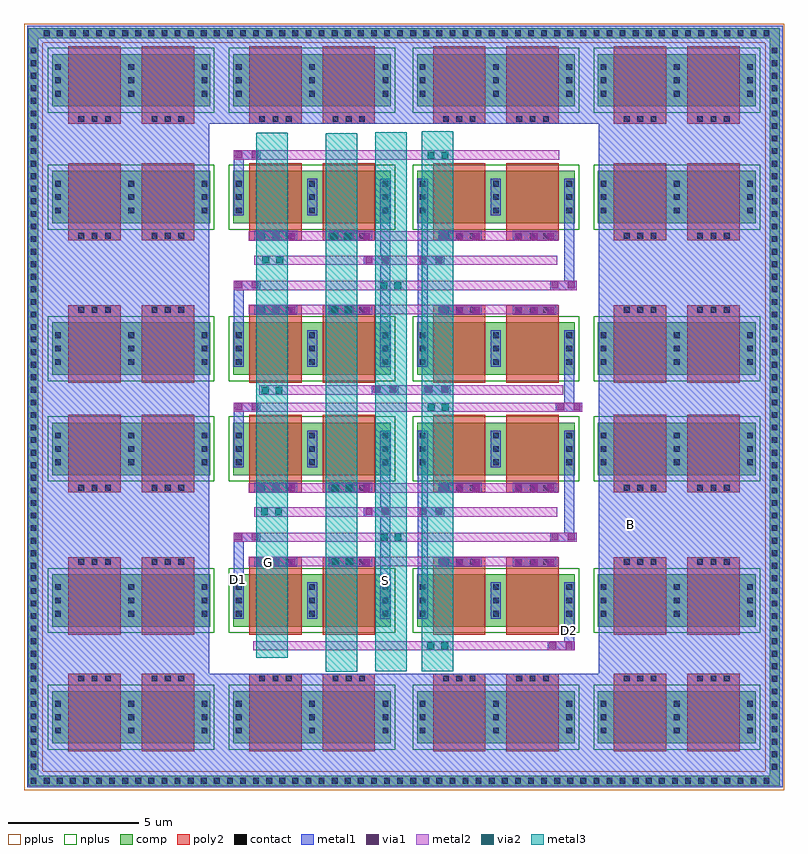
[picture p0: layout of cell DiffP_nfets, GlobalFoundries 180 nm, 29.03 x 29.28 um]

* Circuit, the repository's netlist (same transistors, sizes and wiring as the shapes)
** sch_path: /home/gmaranhao/Desktop/Bracolin/TIA_Filter/PseudoResistor/DiffP_nfets.sch
.subckt DiffP_nfets D1 D2 G S B
*.PININFO D1:B D2:B G:B S:B B:B
M1 D1 G net4 B nfet_03v3 L=2u W=2u nf=1 m=1
M2 D2 G net5 B nfet_03v3 L=2u W=2u nf=1 m=1
M5 D1 G net3 B nfet_03v3 L=2u W=2u nf=1 m=1
M6 D1 G net2 B nfet_03v3 L=2u W=2u nf=1 m=1
M7 D1 G net1 B nfet_03v3 L=2u W=2u nf=1 m=1
M8 net4 G S B nfet_03v3 L=2u W=2u nf=1 m=1
M9 net3 G S B nfet_03v3 L=2u W=2u nf=1 m=1
M10 net2 G S B nfet_03v3 L=2u W=2u nf=1 m=1
M11 net1 G S B nfet_03v3 L=2u W=2u nf=1 m=1
M12 D2 G net6 B nfet_03v3 L=2u W=2u nf=1 m=1
M13 D2 G net7 B nfet_03v3 L=2u W=2u nf=1 m=1
M14 D2 G net8 B nfet_03v3 L=2u W=2u nf=1 m=1
M15 net5 G S B nfet_03v3 L=2u W=2u nf=1 m=1
M16 net6 G S B nfet_03v3 L=2u W=2u nf=1 m=1
M17 net7 G S B nfet_03v3 L=2u W=2u nf=1 m=1
M18 net8 G S B nfet_03v3 L=2u W=2u nf=1 m=1
M3[1] B B B B nfet_03v3 L=2u W=2u nf=1 m=1
M3[2] B B B B nfet_03v3 L=2u W=2u nf=1 m=1
M3[3] B B B B nfet_03v3 L=2u W=2u nf=1 m=1
M3[4] B B B B nfet_03v3 L=2u W=2u nf=1 m=1
M3[5] B B B B nfet_03v3 L=2u W=2u nf=1 m=1
M3[6] B B B B nfet_03v3 L=2u W=2u nf=1 m=1
M3[7] B B B B nfet_03v3 L=2u W=2u nf=1 m=1
M3[8] B B B B nfet_03v3 L=2u W=2u nf=1 m=1
M3[9] B B B B nfet_03v3 L=2u W=2u nf=1 m=1
M3[10] B B B B nfet_03v3 L=2u W=2u nf=1 m=1
M3[11] B B B B nfet_03v3 L=2u W=2u nf=1 m=1
M3[12] B B B B nfet_03v3 L=2u W=2u nf=1 m=1
M3[13] B B B B nfet_03v3 L=2u W=2u nf=1 m=1
M3[14] B B B B nfet_03v3 L=2u W=2u nf=1 m=1
M3[15] B B B B nfet_03v3 L=2u W=2u nf=1 m=1
M3[16] B B B B nfet_03v3 L=2u W=2u nf=1 m=1
M3[17] B B B B nfet_03v3 L=2u W=2u nf=1 m=1
M3[18] B B B B nfet_03v3 L=2u W=2u nf=1 m=1
M3[19] B B B B nfet_03v3 L=2u W=2u nf=1 m=1
M3[20] B B B B nfet_03v3 L=2u W=2u nf=1 m=1
M3[21] B B B B nfet_03v3 L=2u W=2u nf=1 m=1
M3[22] B B B B nfet_03v3 L=2u W=2u nf=1 m=1
M3[23] B B B B nfet_03v3 L=2u W=2u nf=1 m=1
M3[24] B B B B nfet_03v3 L=2u W=2u nf=1 m=1
M3[25] B B B B nfet_03v3 L=2u W=2u nf=1 m=1
M3[26] B B B B nfet_03v3 L=2u W=2u nf=1 m=1
M3[27] B B B B nfet_03v3 L=2u W=2u nf=1 m=1
M3[28] B B B B nfet_03v3 L=2u W=2u nf=1 m=1
M3[29] B B B B nfet_03v3 L=2u W=2u nf=1 m=1
M3[30] B B B B nfet_03v3 L=2u W=2u nf=1 m=1
M3[31] B B B B nfet_03v3 L=2u W=2u nf=1 m=1
M3[32] B B B B nfet_03v3 L=2u W=2u nf=1 m=1
.ends
.end

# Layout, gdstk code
import gdstk
lib = gdstk.Library(unit=1e-6, precision=1e-09)
def R(c, l, rs):  # rectangles x0, y0, x1, y1
    for r in rs: c.add(gdstk.rectangle(r[:2], r[2:], *l))
def A(c, l, x, y, w, h, nx, ny, dx, dy):  # array of equal rectangles
    R(c, l, [(x+i*dx, y+j*dy, x+i*dx+w, y+j*dy+h) for i in range(nx) for j in range(ny)])
comp = (22, 0)
poly2 = (30, 0)
pplus = (31, 0)
nplus = (32, 0)
contact = (33, 0)
metal1 = (34, 0)
via1 = (35, 0)
metal2 = (36, 0)
via2 = (38, 0)
metal3 = (42, 0)

nfet = lib.new_cell('nfet')
R(nfet, comp, [(-0.42,0,0,2), (0,0,2.38,2), (2.38,0,2.8,2)])
R(nfet, poly2, [(0.19,-0.3,2.19,2.3), (0.19,2.3,2.19,2.66)])
R(nfet, nplus, [(-0.59,-0.24,2.97,2.24)])
A(nfet, contact, -0.32, 0.38, 0.22, 0.22, 1, 3, 0, 0.51)
A(nfet, contact, 2.48, 0.38, 0.22, 0.22, 1, 3, 0, 0.51)
A(nfet, contact, 0.57, 2.37, 0.22, 0.22, 3, 1, 0.51, 0)
R(nfet, metal1, [(-0.4,0.3,-0.02,1.7), (2.4,0.3,2.78,1.7), (0.49,2.29,1.89,2.67)])

diffp_nfets = lib.new_cell('DiffP_nfets')
R(diffp_nfets, comp, [(-8.485,-3.245,20.205,-2.865), (-8.485,-2.865,-8.105,25.695), (19.825,-2.865,20.205,25.695), (-8.485,25.315,20.205,25.695)])
R(diffp_nfets, pplus, [(-8.655,-3.415,20.375,-2.695), (-8.655,-3.04,-7.935,25.865), (19.655,-3.04,20.375,25.865), (-8.655,25.145,20.375,25.865)])
A(diffp_nfets, contact, -8.4, -3.165, 0.22, 0.22, 57, 1, 0.5, 0)
A(diffp_nfets, contact, -8.405, -2.63, 0.22, 0.22, 1, 58, 0, 0.48)
A(diffp_nfets, contact, 19.905, -2.63, 0.22, 0.22, 1, 58, 0, 0.48)
A(diffp_nfets, contact, -7.9, 25.395, 0.22, 0.22, 56, 1, 0.5, 0)
R(diffp_nfets, contact, [(-8.405,24.73,-8.185,24.95)])
R(diffp_nfets, metal1, [(-8.525,-3.3,-1.57,25.785), (-1.965,-3.3,20.335,1.045), (13.29,-1.325,20.335,24.405), (11.35,1.93,12.36,2.285), (11.35,1.93,12.36,2.285), (11.35,1.93,12.36,2.285), (11.98,1.94,12.36,3.9), (4.96,4.41,5.34,7.105), (6.38,4.41,6.76,7.105), (-0.64,4.455,-0.26,6.41), (0.14,5.125,1.79,5.505), (2.99,5.125,4.64,5.505), (7.18,5.125,8.83,5.505), (10.02,5.125,11.67,5.505), (-0.64,6.07,0.37,6.425), (-0.64,6.07,0.37,6.425), (-0.64,6.07,0.37,6.425), (11.44,6.07,12.45,6.425), (11.44,6.07,12.45,6.425), (11.44,6.07,12.45,6.425), (11.98,6.07,12.36,9.71), (4.33,7.035,5.34,7.39), (4.33,7.035,5.34,7.39), (4.33,7.035,5.34,7.39), (4.33,7.035,5.34,7.39), (4.33,7.035,5.34,7.39), (4.33,7.035,5.34,7.39), (4.96,7.035,5.34,9.155), (6.38,7.035,6.76,9.155), (6.39,7.035,7.4,7.39), (6.39,7.035,7.4,7.39), (6.39,7.035,7.4,7.39), (6.39,7.035,7.4,7.39), (6.39,7.035,7.4,7.39), (6.39,7.035,7.4,7.39), (0.14,7.955,1.79,8.335), (2.99,7.955,4.64,8.335), (7.18,7.955,8.83,8.335), (10.02,7.955,11.67,8.335), (-0.64,10.32,-0.26,11.305), (-0.64,11.04,0.37,11.395), (-0.64,11.04,0.37,11.395), (-0.64,11.04,0.37,11.395), (11.66,11.04,12.67,11.395), (11.66,11.04,12.67,11.395), (11.66,11.04,12.67,11.395), (11.98,11.085,12.36,13.14), (4.63,11.7,5.64,12.055), (4.63,11.7,5.64,12.055), (4.63,11.7,5.64,12.055), (6.61,11.7,7.62,12.055), (6.61,11.7,7.62,12.055), (6.61,11.7,7.62,12.055), (4.96,14.03,5.34,16.725), (6.38,14.03,6.76,16.725), (-0.64,14.075,-0.26,16.03), (0.14,14.745,1.79,15.125), (2.99,14.745,4.64,15.125), (7.18,14.745,8.83,15.125), (10.02,14.745,11.67,15.125), (-0.64,15.69,0.37,16.045), (-0.64,15.69,0.37,16.045), (-0.64,15.69,0.37,16.045), (11.44,15.69,12.45,16.045), (11.44,15.69,12.45,16.045), (11.44,15.69,12.45,16.045), (11.98,15.69,12.36,19.33), (4.33,16.655,5.34,17.01), (4.33,16.655,5.34,17.01), (4.33,16.655,5.34,17.01), (4.33,16.655,5.34,17.01), (4.33,16.655,5.34,17.01), (4.33,16.655,5.34,17.01), (4.96,16.655,5.34,18.775), (6.38,16.655,6.76,18.775), (6.39,16.655,7.4,17.01), (6.39,16.655,7.4,17.01), (6.39,16.655,7.4,17.01), (6.39,16.655,7.4,17.01), (6.39,16.655,7.4,17.01), (6.39,16.655,7.4,17.01), (0.14,17.575,1.79,17.955), (2.99,17.575,4.64,17.955), (7.18,17.575,8.83,17.955), (10.02,17.575,11.67,17.955), (-0.64,19.905,-0.26,20.765), (-0.64,20.67,0.37,21.025), (-0.64,20.67,0.37,21.025), (-0.64,20.67,0.37,21.025), (-1.965,22.035,20.335,25.785)])
R(diffp_nfets, via1, [(11.41,1.995,11.67,2.255), (11.41,1.995,11.67,2.255), (12.03,1.995,12.29,2.255), (12.03,1.995,12.29,2.255), (0.21,5.175,0.47,5.435), (0.21,5.175,0.47,5.435), (0.21,5.175,0.47,5.435), (0.21,5.175,0.47,5.435), (0.21,5.175,0.47,5.435), (0.21,5.175,0.47,5.435), (0.21,5.175,0.47,5.435), (0.21,5.175,0.47,5.435), (0.83,5.175,1.09,5.435), (0.83,5.175,1.09,5.435), (0.83,5.175,1.09,5.435), (0.83,5.175,1.09,5.435), (0.83,5.175,1.09,5.435), (0.83,5.175,1.09,5.435), (0.83,5.175,1.09,5.435), (0.83,5.175,1.09,5.435), (1.45,5.175,1.71,5.435), (1.45,5.175,1.71,5.435), (1.45,5.175,1.71,5.435), (1.45,5.175,1.71,5.435), (1.45,5.175,1.71,5.435), (1.45,5.175,1.71,5.435), (1.45,5.175,1.71,5.435), (1.45,5.175,1.71,5.435), (3.06,5.175,3.32,5.435), (3.06,5.175,3.32,5.435), (3.06,5.175,3.32,5.435), (3.06,5.175,3.32,5.435), (3.06,5.175,3.32,5.435), (3.06,5.175,3.32,5.435), (3.06,5.175,3.32,5.435), (3.06,5.175,3.32,5.435), (3.68,5.175,3.94,5.435), (3.68,5.175,3.94,5.435), (3.68,5.175,3.94,5.435), (3.68,5.175,3.94,5.435), (3.68,5.175,3.94,5.435), (3.68,5.175,3.94,5.435), (3.68,5.175,3.94,5.435), (3.68,5.175,3.94,5.435), (4.3,5.175,4.56,5.435), (4.3,5.175,4.56,5.435), (4.3,5.175,4.56,5.435), (4.3,5.175,4.56,5.435), (4.3,5.175,4.56,5.435), (4.3,5.175,4.56,5.435), (4.3,5.175,4.56,5.435), (4.3,5.175,4.56,5.435), (7.25,5.175,7.51,5.435), (7.25,5.175,7.51,5.435), (7.25,5.175,7.51,5.435), (7.25,5.175,7.51,5.435), (7.25,5.175,7.51,5.435), (7.25,5.175,7.51,5.435), (7.25,5.175,7.51,5.435), (7.25,5.175,7.51,5.435), (7.87,5.175,8.13,5.435), (7.87,5.175,8.13,5.435), (7.87,5.175,8.13,5.435), (7.87,5.175,8.13,5.435), (7.87,5.175,8.13,5.435), (7.87,5.175,8.13,5.435), (7.87,5.175,8.13,5.435), (7.87,5.175,8.13,5.435), (8.49,5.175,8.75,5.435), (8.49,5.175,8.75,5.435), (8.49,5.175,8.75,5.435), (8.49,5.175,8.75,5.435), (8.49,5.175,8.75,5.435), (8.49,5.175,8.75,5.435), (8.49,5.175,8.75,5.435), (8.49,5.175,8.75,5.435), (10.09,5.175,10.35,5.435), (10.09,5.175,10.35,5.435), (10.09,5.175,10.35,5.435), (10.09,5.175,10.35,5.435), (10.09,5.175,10.35,5.435), (10.09,5.175,10.35,5.435), (10.09,5.175,10.35,5.435), (10.09,5.175,10.35,5.435), (10.71,5.175,10.97,5.435), (10.71,5.175,10.97,5.435), (10.71,5.175,10.97,5.435), (10.71,5.175,10.97,5.435), (10.71,5.175,10.97,5.435), (10.71,5.175,10.97,5.435), (10.71,5.175,10.97,5.435), (10.71,5.175,10.97,5.435), (11.33,5.175,11.59,5.435), (11.33,5.175,11.59,5.435), (11.33,5.175,11.59,5.435), (11.33,5.175,11.59,5.435), (11.33,5.175,11.59,5.435), (11.33,5.175,11.59,5.435), (11.33,5.175,11.59,5.435), (11.33,5.175,11.59,5.435), (-0.58,6.135,-0.32,6.395), (-0.58,6.135,-0.32,6.395), (0.04,6.135,0.3,6.395), (0.04,6.135,0.3,6.395), (11.5,6.135,11.76,6.395), (11.5,6.135,11.76,6.395), (12.12,6.135,12.38,6.395), (12.12,6.135,12.38,6.395), (4.39,7.1,4.65,7.36), (4.39,7.1,4.65,7.36), (4.39,7.1,4.65,7.36), (4.39,7.1,4.65,7.36), (5.01,7.1,5.27,7.36), (5.01,7.1,5.27,7.36), (5.01,7.1,5.27,7.36), (5.01,7.1,5.27,7.36), (6.45,7.1,6.71,7.36), (6.45,7.1,6.71,7.36), (6.45,7.1,6.71,7.36), (6.45,7.1,6.71,7.36), (7.07,7.1,7.33,7.36), (7.07,7.1,7.33,7.36), (7.07,7.1,7.33,7.36), (7.07,7.1,7.33,7.36), (0.21,8.005,0.47,8.265), (0.21,8.005,0.47,8.265), (0.21,8.005,0.47,8.265), (0.21,8.005,0.47,8.265), (0.21,8.005,0.47,8.265), (0.21,8.005,0.47,8.265), (0.21,8.005,0.47,8.265), (0.21,8.005,0.47,8.265), (0.83,8.005,1.09,8.265), (0.83,8.005,1.09,8.265), (0.83,8.005,1.09,8.265), (0.83,8.005,1.09,8.265), (0.83,8.005,1.09,8.265), (0.83,8.005,1.09,8.265), (0.83,8.005,1.09,8.265), (0.83,8.005,1.09,8.265), (1.45,8.005,1.71,8.265), (1.45,8.005,1.71,8.265), (1.45,8.005,1.71,8.265), (1.45,8.005,1.71,8.265), (1.45,8.005,1.71,8.265), (1.45,8.005,1.71,8.265), (1.45,8.005,1.71,8.265), (1.45,8.005,1.71,8.265), (3.06,8.005,3.32,8.265), (3.06,8.005,3.32,8.265), (3.06,8.005,3.32,8.265), (3.06,8.005,3.32,8.265), (3.06,8.005,3.32,8.265), (3.06,8.005,3.32,8.265), (3.06,8.005,3.32,8.265), (3.06,8.005,3.32,8.265), (3.68,8.005,3.94,8.265), (3.68,8.005,3.94,8.265), (3.68,8.005,3.94,8.265), (3.68,8.005,3.94,8.265), (3.68,8.005,3.94,8.265), (3.68,8.005,3.94,8.265), (3.68,8.005,3.94,8.265), (3.68,8.005,3.94,8.265), (4.3,8.005,4.56,8.265), (4.3,8.005,4.56,8.265), (4.3,8.005,4.56,8.265), (4.3,8.005,4.56,8.265), (4.3,8.005,4.56,8.265), (4.3,8.005,4.56,8.265), (4.3,8.005,4.56,8.265), (4.3,8.005,4.56,8.265), (7.25,8.005,7.51,8.265), (7.25,8.005,7.51,8.265), (7.25,8.005,7.51,8.265), (7.25,8.005,7.51,8.265), (7.25,8.005,7.51,8.265), (7.25,8.005,7.51,8.265), (7.25,8.005,7.51,8.265), (7.25,8.005,7.51,8.265), (7.87,8.005,8.13,8.265), (7.87,8.005,8.13,8.265), (7.87,8.005,8.13,8.265), (7.87,8.005,8.13,8.265), (7.87,8.005,8.13,8.265), (7.87,8.005,8.13,8.265), (7.87,8.005,8.13,8.265), (7.87,8.005,8.13,8.265), (8.49,8.005,8.75,8.265), (8.49,8.005,8.75,8.265), (8.49,8.005,8.75,8.265), (8.49,8.005,8.75,8.265), (8.49,8.005,8.75,8.265), (8.49,8.005,8.75,8.265), (8.49,8.005,8.75,8.265), (8.49,8.005,8.75,8.265), (10.09,8.005,10.35,8.265), (10.09,8.005,10.35,8.265), (10.09,8.005,10.35,8.265), (10.09,8.005,10.35,8.265), (10.09,8.005,10.35,8.265), (10.09,8.005,10.35,8.265), (10.09,8.005,10.35,8.265), (10.09,8.005,10.35,8.265), (10.71,8.005,10.97,8.265), (10.71,8.005,10.97,8.265), (10.71,8.005,10.97,8.265), (10.71,8.005,10.97,8.265), (10.71,8.005,10.97,8.265), (10.71,8.005,10.97,8.265), (10.71,8.005,10.97,8.265), (10.71,8.005,10.97,8.265), (11.33,8.005,11.59,8.265), (11.33,8.005,11.59,8.265), (11.33,8.005,11.59,8.265), (11.33,8.005,11.59,8.265), (11.33,8.005,11.59,8.265), (11.33,8.005,11.59,8.265), (11.33,8.005,11.59,8.265), (11.33,8.005,11.59,8.265), (-0.58,11.105,-0.32,11.365), (-0.58,11.105,-0.32,11.365), (0.04,11.105,0.3,11.365), (0.04,11.105,0.3,11.365), (11.72,11.105,11.98,11.365), (11.72,11.105,11.98,11.365), (12.34,11.105,12.6,11.365), (12.34,11.105,12.6,11.365), (4.69,11.765,4.95,12.025), (4.69,11.765,4.95,12.025), (5.31,11.765,5.57,12.025), (5.31,11.765,5.57,12.025), (6.67,11.765,6.93,12.025), (6.67,11.765,6.93,12.025), (7.29,11.765,7.55,12.025), (7.29,11.765,7.55,12.025), (0.21,14.795,0.47,15.055), (0.21,14.795,0.47,15.055), (0.21,14.795,0.47,15.055), (0.21,14.795,0.47,15.055), (0.21,14.795,0.47,15.055), (0.21,14.795,0.47,15.055), (0.21,14.795,0.47,15.055), (0.21,14.795,0.47,15.055), (0.83,14.795,1.09,15.055), (0.83,14.795,1.09,15.055), (0.83,14.795,1.09,15.055), (0.83,14.795,1.09,15.055), (0.83,14.795,1.09,15.055), (0.83,14.795,1.09,15.055), (0.83,14.795,1.09,15.055), (0.83,14.795,1.09,15.055), (1.45,14.795,1.71,15.055), (1.45,14.795,1.71,15.055), (1.45,14.795,1.71,15.055), (1.45,14.795,1.71,15.055), (1.45,14.795,1.71,15.055), (1.45,14.795,1.71,15.055), (1.45,14.795,1.71,15.055), (1.45,14.795,1.71,15.055), (3.06,14.795,3.32,15.055), (3.06,14.795,3.32,15.055), (3.06,14.795,3.32,15.055), (3.06,14.795,3.32,15.055), (3.06,14.795,3.32,15.055), (3.06,14.795,3.32,15.055), (3.06,14.795,3.32,15.055), (3.06,14.795,3.32,15.055), (3.68,14.795,3.94,15.055), (3.68,14.795,3.94,15.055), (3.68,14.795,3.94,15.055), (3.68,14.795,3.94,15.055), (3.68,14.795,3.94,15.055), (3.68,14.795,3.94,15.055), (3.68,14.795,3.94,15.055), (3.68,14.795,3.94,15.055), (4.3,14.795,4.56,15.055), (4.3,14.795,4.56,15.055), (4.3,14.795,4.56,15.055), (4.3,14.795,4.56,15.055), (4.3,14.795,4.56,15.055), (4.3,14.795,4.56,15.055), (4.3,14.795,4.56,15.055), (4.3,14.795,4.56,15.055), (7.25,14.795,7.51,15.055), (7.25,14.795,7.51,15.055), (7.25,14.795,7.51,15.055), (7.25,14.795,7.51,15.055), (7.25,14.795,7.51,15.055), (7.25,14.795,7.51,15.055), (7.25,14.795,7.51,15.055), (7.25,14.795,7.51,15.055), (7.87,14.795,8.13,15.055), (7.87,14.795,8.13,15.055), (7.87,14.795,8.13,15.055), (7.87,14.795,8.13,15.055), (7.87,14.795,8.13,15.055), (7.87,14.795,8.13,15.055), (7.87,14.795,8.13,15.055), (7.87,14.795,8.13,15.055), (8.49,14.795,8.75,15.055), (8.49,14.795,8.75,15.055), (8.49,14.795,8.75,15.055), (8.49,14.795,8.75,15.055), (8.49,14.795,8.75,15.055), (8.49,14.795,8.75,15.055), (8.49,14.795,8.75,15.055), (8.49,14.795,8.75,15.055), (10.09,14.795,10.35,15.055), (10.09,14.795,10.35,15.055), (10.09,14.795,10.35,15.055), (10.09,14.795,10.35,15.055), (10.09,14.795,10.35,15.055), (10.09,14.795,10.35,15.055), (10.09,14.795,10.35,15.055), (10.09,14.795,10.35,15.055), (10.71,14.795,10.97,15.055), (10.71,14.795,10.97,15.055), (10.71,14.795,10.97,15.055), (10.71,14.795,10.97,15.055), (10.71,14.795,10.97,15.055), (10.71,14.795,10.97,15.055), (10.71,14.795,10.97,15.055), (10.71,14.795,10.97,15.055), (11.33,14.795,11.59,15.055), (11.33,14.795,11.59,15.055), (11.33,14.795,11.59,15.055), (11.33,14.795,11.59,15.055), (11.33,14.795,11.59,15.055), (11.33,14.795,11.59,15.055), (11.33,14.795,11.59,15.055), (11.33,14.795,11.59,15.055), (-0.58,15.755,-0.32,16.015), (-0.58,15.755,-0.32,16.015), (0.04,15.755,0.3,16.015), (0.04,15.755,0.3,16.015), (11.5,15.755,11.76,16.015), (11.5,15.755,11.76,16.015), (12.12,15.755,12.38,16.015), (12.12,15.755,12.38,16.015), (4.39,16.72,4.65,16.98), (4.39,16.72,4.65,16.98), (4.39,16.72,4.65,16.98), (4.39,16.72,4.65,16.98), (5.01,16.72,5.27,16.98), (5.01,16.72,5.27,16.98), (5.01,16.72,5.27,16.98), (5.01,16.72,5.27,16.98), (6.45,16.72,6.71,16.98), (6.45,16.72,6.71,16.98), (6.45,16.72,6.71,16.98), (6.45,16.72,6.71,16.98), (7.07,16.72,7.33,16.98), (7.07,16.72,7.33,16.98), (7.07,16.72,7.33,16.98), (7.07,16.72,7.33,16.98), (0.21,17.625,0.47,17.885), (0.21,17.625,0.47,17.885), (0.21,17.625,0.47,17.885), (0.21,17.625,0.47,17.885), (0.21,17.625,0.47,17.885), (0.21,17.625,0.47,17.885), (0.21,17.625,0.47,17.885), (0.21,17.625,0.47,17.885), (0.83,17.625,1.09,17.885), (0.83,17.625,1.09,17.885), (0.83,17.625,1.09,17.885), (0.83,17.625,1.09,17.885), (0.83,17.625,1.09,17.885), (0.83,17.625,1.09,17.885), (0.83,17.625,1.09,17.885), (0.83,17.625,1.09,17.885), (1.45,17.625,1.71,17.885), (1.45,17.625,1.71,17.885), (1.45,17.625,1.71,17.885), (1.45,17.625,1.71,17.885), (1.45,17.625,1.71,17.885), (1.45,17.625,1.71,17.885), (1.45,17.625,1.71,17.885), (1.45,17.625,1.71,17.885), (3.06,17.625,3.32,17.885), (3.06,17.625,3.32,17.885), (3.06,17.625,3.32,17.885), (3.06,17.625,3.32,17.885), (3.06,17.625,3.32,17.885), (3.06,17.625,3.32,17.885), (3.06,17.625,3.32,17.885), (3.06,17.625,3.32,17.885), (3.68,17.625,3.94,17.885), (3.68,17.625,3.94,17.885), (3.68,17.625,3.94,17.885), (3.68,17.625,3.94,17.885), (3.68,17.625,3.94,17.885), (3.68,17.625,3.94,17.885), (3.68,17.625,3.94,17.885), (3.68,17.625,3.94,17.885), (4.3,17.625,4.56,17.885), (4.3,17.625,4.56,17.885), (4.3,17.625,4.56,17.885), (4.3,17.625,4.56,17.885), (4.3,17.625,4.56,17.885), (4.3,17.625,4.56,17.885), (4.3,17.625,4.56,17.885), (4.3,17.625,4.56,17.885), (7.25,17.625,7.51,17.885), (7.25,17.625,7.51,17.885), (7.25,17.625,7.51,17.885), (7.25,17.625,7.51,17.885), (7.25,17.625,7.51,17.885), (7.25,17.625,7.51,17.885), (7.25,17.625,7.51,17.885), (7.25,17.625,7.51,17.885), (7.87,17.625,8.13,17.885), (7.87,17.625,8.13,17.885), (7.87,17.625,8.13,17.885), (7.87,17.625,8.13,17.885), (7.87,17.625,8.13,17.885), (7.87,17.625,8.13,17.885), (7.87,17.625,8.13,17.885), (7.87,17.625,8.13,17.885), (8.49,17.625,8.75,17.885), (8.49,17.625,8.75,17.885), (8.49,17.625,8.75,17.885), (8.49,17.625,8.75,17.885), (8.49,17.625,8.75,17.885), (8.49,17.625,8.75,17.885), (8.49,17.625,8.75,17.885), (8.49,17.625,8.75,17.885), (10.09,17.625,10.35,17.885), (10.09,17.625,10.35,17.885), (10.09,17.625,10.35,17.885), (10.09,17.625,10.35,17.885), (10.09,17.625,10.35,17.885), (10.09,17.625,10.35,17.885), (10.09,17.625,10.35,17.885), (10.09,17.625,10.35,17.885), (10.71,17.625,10.97,17.885), (10.71,17.625,10.97,17.885), (10.71,17.625,10.97,17.885), (10.71,17.625,10.97,17.885), (10.71,17.625,10.97,17.885), (10.71,17.625,10.97,17.885), (10.71,17.625,10.97,17.885), (10.71,17.625,10.97,17.885), (11.33,17.625,11.59,17.885), (11.33,17.625,11.59,17.885), (11.33,17.625,11.59,17.885), (11.33,17.625,11.59,17.885), (11.33,17.625,11.59,17.885), (11.33,17.625,11.59,17.885), (11.33,17.625,11.59,17.885), (11.33,17.625,11.59,17.885), (-0.58,20.735,-0.32,20.995), (-0.58,20.735,-0.32,20.995), (0.04,20.735,0.3,20.995), (0.04,20.735,0.3,20.995)])
R(diffp_nfets, metal2, [(0.1,1.93,12.39,2.285), (-0.07,5.15,11.75,5.505), (-0.65,6.07,12.455,6.425), (0.14,7.035,11.715,7.39), (-0.07,7.955,11.75,8.31), (-0.64,11.04,12.67,11.395), (0.34,11.7,11.935,12.055), (-0.07,14.77,11.75,15.125), (-0.65,15.69,12.455,16.045), (0.14,16.655,11.715,17.01), (-0.07,17.575,11.75,17.93), (-0.64,20.67,11.795,21.025)])
R(diffp_nfets, via2, [(6.755,1.975,7.015,2.235), (6.755,1.975,7.015,2.235), (6.755,1.975,7.015,2.235), (6.755,1.975,7.015,2.235), (6.755,1.975,7.015,2.235), (6.755,1.975,7.015,2.235), (6.755,1.975,7.015,2.235), (6.755,1.975,7.015,2.235), (7.285,1.975,7.545,2.235), (7.285,1.975,7.545,2.235), (7.285,1.975,7.545,2.235), (7.285,1.975,7.545,2.235), (7.285,1.975,7.545,2.235), (7.285,1.975,7.545,2.235), (7.285,1.975,7.545,2.235), (7.285,1.975,7.545,2.235), (3.11,5.195,3.37,5.455), (3.11,5.195,3.37,5.455), (3.11,5.195,3.37,5.455), (3.11,5.195,3.37,5.455), (3.11,5.195,3.37,5.455), (3.11,5.195,3.37,5.455), (3.11,5.195,3.37,5.455), (3.11,5.195,3.37,5.455), (3.64,5.195,3.9,5.455), (3.64,5.195,3.9,5.455), (3.64,5.195,3.9,5.455), (3.64,5.195,3.9,5.455), (3.64,5.195,3.9,5.455), (3.64,5.195,3.9,5.455), (3.64,5.195,3.9,5.455), (3.64,5.195,3.9,5.455), (4.97,6.115,5.23,6.375), (4.97,6.115,5.23,6.375), (4.97,6.115,5.23,6.375), (4.97,6.115,5.23,6.375), (4.97,6.115,5.23,6.375), (4.97,6.115,5.23,6.375), (4.97,6.115,5.23,6.375), (4.97,6.115,5.23,6.375), (5.5,6.115,5.76,6.375), (5.5,6.115,5.76,6.375), (5.5,6.115,5.76,6.375), (5.5,6.115,5.76,6.375), (5.5,6.115,5.76,6.375), (5.5,6.115,5.76,6.375), (5.5,6.115,5.76,6.375), (5.5,6.115,5.76,6.375), (0.405,7.09,0.665,7.35), (0.405,7.09,0.665,7.35), (0.405,7.09,0.665,7.35), (0.405,7.09,0.665,7.35), (0.405,7.09,0.665,7.35), (0.405,7.09,0.665,7.35), (0.405,7.09,0.665,7.35), (0.405,7.09,0.665,7.35), (0.935,7.09,1.195,7.35), (0.935,7.09,1.195,7.35), (0.935,7.09,1.195,7.35), (0.935,7.09,1.195,7.35), (0.935,7.09,1.195,7.35), (0.935,7.09,1.195,7.35), (0.935,7.09,1.195,7.35), (0.935,7.09,1.195,7.35), (3.1,8,3.36,8.26), (3.1,8,3.36,8.26), (3.1,8,3.36,8.26), (3.1,8,3.36,8.26), (3.1,8,3.36,8.26), (3.1,8,3.36,8.26), (3.1,8,3.36,8.26), (3.1,8,3.36,8.26), (3.63,8,3.89,8.26), (3.63,8,3.89,8.26), (3.63,8,3.89,8.26), (3.63,8,3.89,8.26), (3.63,8,3.89,8.26), (3.63,8,3.89,8.26), (3.63,8,3.89,8.26), (3.63,8,3.89,8.26), (6.77,11.08,7.03,11.34), (6.77,11.08,7.03,11.34), (6.77,11.08,7.03,11.34), (6.77,11.08,7.03,11.34), (6.77,11.08,7.03,11.34), (6.77,11.08,7.03,11.34), (6.77,11.08,7.03,11.34), (6.77,11.08,7.03,11.34), (7.3,11.08,7.56,11.34), (7.3,11.08,7.56,11.34), (7.3,11.08,7.56,11.34), (7.3,11.08,7.56,11.34), (7.3,11.08,7.56,11.34), (7.3,11.08,7.56,11.34), (7.3,11.08,7.56,11.34), (7.3,11.08,7.56,11.34), (0.425,11.735,0.685,11.995), (0.425,11.735,0.685,11.995), (0.425,11.735,0.685,11.995), (0.425,11.735,0.685,11.995), (0.425,11.735,0.685,11.995), (0.425,11.735,0.685,11.995), (0.425,11.735,0.685,11.995), (0.425,11.735,0.685,11.995), (0.955,11.735,1.215,11.995), (0.955,11.735,1.215,11.995), (0.955,11.735,1.215,11.995), (0.955,11.735,1.215,11.995), (0.955,11.735,1.215,11.995), (0.955,11.735,1.215,11.995), (0.955,11.735,1.215,11.995), (0.955,11.735,1.215,11.995), (3.07,14.815,3.33,15.075), (3.07,14.815,3.33,15.075), (3.07,14.815,3.33,15.075), (3.07,14.815,3.33,15.075), (3.07,14.815,3.33,15.075), (3.07,14.815,3.33,15.075), (3.07,14.815,3.33,15.075), (3.07,14.815,3.33,15.075), (3.6,14.815,3.86,15.075), (3.6,14.815,3.86,15.075), (3.6,14.815,3.86,15.075), (3.6,14.815,3.86,15.075), (3.6,14.815,3.86,15.075), (3.6,14.815,3.86,15.075), (3.6,14.815,3.86,15.075), (3.6,14.815,3.86,15.075), (4.96,15.735,5.22,15.995), (4.96,15.735,5.22,15.995), (4.96,15.735,5.22,15.995), (4.96,15.735,5.22,15.995), (4.96,15.735,5.22,15.995), (4.96,15.735,5.22,15.995), (4.96,15.735,5.22,15.995), (4.96,15.735,5.22,15.995), (5.49,15.735,5.75,15.995), (5.49,15.735,5.75,15.995), (5.49,15.735,5.75,15.995), (5.49,15.735,5.75,15.995), (5.49,15.735,5.75,15.995), (5.49,15.735,5.75,15.995), (5.49,15.735,5.75,15.995), (5.49,15.735,5.75,15.995), (0.45,16.71,0.71,16.97), (0.45,16.71,0.71,16.97), (0.45,16.71,0.71,16.97), (0.45,16.71,0.71,16.97), (0.45,16.71,0.71,16.97), (0.45,16.71,0.71,16.97), (0.45,16.71,0.71,16.97), (0.45,16.71,0.71,16.97), (0.98,16.71,1.24,16.97), (0.98,16.71,1.24,16.97), (0.98,16.71,1.24,16.97), (0.98,16.71,1.24,16.97), (0.98,16.71,1.24,16.97), (0.98,16.71,1.24,16.97), (0.98,16.71,1.24,16.97), (0.98,16.71,1.24,16.97), (3.05,17.62,3.31,17.88), (3.05,17.62,3.31,17.88), (3.05,17.62,3.31,17.88), (3.05,17.62,3.31,17.88), (3.05,17.62,3.31,17.88), (3.05,17.62,3.31,17.88), (3.05,17.62,3.31,17.88), (3.05,17.62,3.31,17.88), (3.58,17.62,3.84,17.88), (3.58,17.62,3.84,17.88), (3.58,17.62,3.84,17.88), (3.58,17.62,3.84,17.88), (3.58,17.62,3.84,17.88), (3.58,17.62,3.84,17.88), (3.58,17.62,3.84,17.88), (3.58,17.62,3.84,17.88), (6.765,20.715,7.025,20.975), (6.765,20.715,7.025,20.975), (6.765,20.715,7.025,20.975), (6.765,20.715,7.025,20.975), (6.765,20.715,7.025,20.975), (6.765,20.715,7.025,20.975), (6.765,20.715,7.025,20.975), (6.765,20.715,7.025,20.975), (7.295,20.715,7.555,20.975), (7.295,20.715,7.555,20.975), (7.295,20.715,7.555,20.975), (7.295,20.715,7.555,20.975), (7.295,20.715,7.555,20.975), (7.295,20.715,7.555,20.975), (7.295,20.715,7.555,20.975), (7.295,20.715,7.555,20.975)])
R(diffp_nfets, metal3, [(2.88,1.12,4.08,21.68), (4.76,1.14,5.96,21.715), (6.545,1.14,7.745,21.75), (0.22,1.645,1.42,21.695)])
diffp_nfets.add(gdstk.Reference(nfet, (-0.24,2.835)))
diffp_nfets.add(gdstk.Reference(nfet, (2.56,2.835)))
diffp_nfets.add(gdstk.Reference(nfet, (6.78,2.835)))
diffp_nfets.add(gdstk.Reference(nfet, (9.58,2.835)))
diffp_nfets.add(gdstk.Reference(nfet, (-0.24,10.625), x_reflection=True))
diffp_nfets.add(gdstk.Reference(nfet, (2.56,10.625), x_reflection=True))
diffp_nfets.add(gdstk.Reference(nfet, (6.78,10.625), x_reflection=True))
diffp_nfets.add(gdstk.Reference(nfet, (9.58,10.625), x_reflection=True))
diffp_nfets.add(gdstk.Reference(nfet, (9.58,12.455)))
diffp_nfets.add(gdstk.Reference(nfet, (6.78,12.455)))
diffp_nfets.add(gdstk.Reference(nfet, (2.56,12.455)))
diffp_nfets.add(gdstk.Reference(nfet, (-0.24,12.455)))
diffp_nfets.add(gdstk.Reference(nfet, (-7.15,2.835)))
diffp_nfets.add(gdstk.Reference(nfet, (-4.35,2.835)))
diffp_nfets.add(gdstk.Reference(nfet, (-0.24,24.705), x_reflection=True))
diffp_nfets.add(gdstk.Reference(nfet, (2.56,24.705), x_reflection=True))
diffp_nfets.add(gdstk.Reference(nfet, (6.78,24.705), x_reflection=True))
diffp_nfets.add(gdstk.Reference(nfet, (9.58,24.705), x_reflection=True))
diffp_nfets.add(gdstk.Reference(nfet, (-7.15,24.705), x_reflection=True))
diffp_nfets.add(gdstk.Reference(nfet, (-4.35,24.705), x_reflection=True))
diffp_nfets.add(gdstk.Reference(nfet, (13.69,24.705), x_reflection=True))
diffp_nfets.add(gdstk.Reference(nfet, (16.49,24.705), x_reflection=True))
diffp_nfets.add(gdstk.Reference(nfet, (-4.35,-1.625)))
diffp_nfets.add(gdstk.Reference(nfet, (-7.15,-1.625)))
diffp_nfets.add(gdstk.Reference(nfet, (16.49,-1.625)))
diffp_nfets.add(gdstk.Reference(nfet, (13.69,-1.625)))
diffp_nfets.add(gdstk.Reference(nfet, (2.56,-1.625)))
diffp_nfets.add(gdstk.Reference(nfet, (-0.24,-1.625)))
diffp_nfets.add(gdstk.Reference(nfet, (9.58,-1.625)))
diffp_nfets.add(gdstk.Reference(nfet, (6.78,-1.625)))
diffp_nfets.add(gdstk.Reference(nfet, (-0.24,20.245), x_reflection=True))
diffp_nfets.add(gdstk.Reference(nfet, (2.56,20.245), x_reflection=True))
diffp_nfets.add(gdstk.Reference(nfet, (6.78,20.245), x_reflection=True))
diffp_nfets.add(gdstk.Reference(nfet, (9.58,20.245), x_reflection=True))
diffp_nfets.add(gdstk.Reference(nfet, (-7.15,10.625), x_reflection=True))
diffp_nfets.add(gdstk.Reference(nfet, (-4.35,10.625), x_reflection=True))
diffp_nfets.add(gdstk.Reference(nfet, (-4.35,12.455)))
diffp_nfets.add(gdstk.Reference(nfet, (-7.15,12.455)))
diffp_nfets.add(gdstk.Reference(nfet, (-7.15,20.245), x_reflection=True))
diffp_nfets.add(gdstk.Reference(nfet, (-4.35,20.245), x_reflection=True))
diffp_nfets.add(gdstk.Reference(nfet, (13.69,2.835)))
diffp_nfets.add(gdstk.Reference(nfet, (16.49,2.835)))
diffp_nfets.add(gdstk.Reference(nfet, (13.69,10.625), x_reflection=True))
diffp_nfets.add(gdstk.Reference(nfet, (16.49,10.625), x_reflection=True))
diffp_nfets.add(gdstk.Reference(nfet, (16.49,12.455)))
diffp_nfets.add(gdstk.Reference(nfet, (13.69,12.455)))
diffp_nfets.add(gdstk.Reference(nfet, (13.69,20.245), x_reflection=True))
diffp_nfets.add(gdstk.Reference(nfet, (16.49,20.245), x_reflection=True))
diffp_nfets.add(gdstk.Label('S', (5.165,4.6), layer=34, texttype=10))
diffp_nfets.add(gdstk.Label('D1', (-0.455,4.635), layer=34, texttype=10))
diffp_nfets.add(gdstk.Label('D2', (12.165,2.705), layer=34, texttype=10))
diffp_nfets.add(gdstk.Label('B', (14.5,6.745), layer=34, texttype=10))
diffp_nfets.add(gdstk.Label('G', (0.685,5.27), layer=34, texttype=10))

lib.write_gds('DiffP_nfets.gds')
